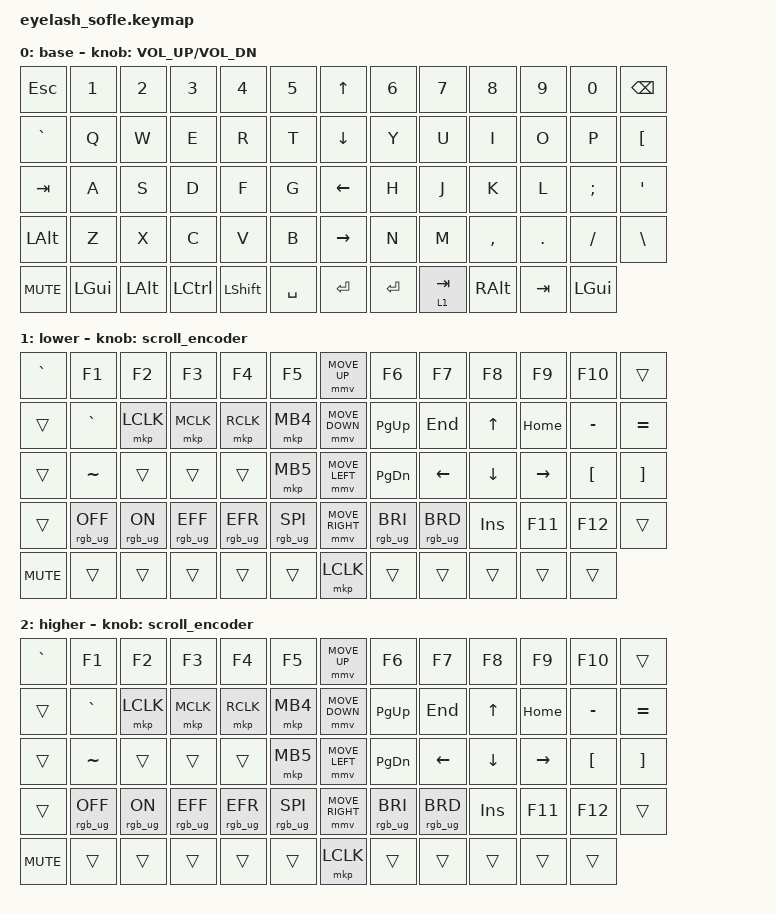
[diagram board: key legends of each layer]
#define ZMK_POINTING_DEFAULT_MOVE_VAL 1200  // 600
#define ZMK_POINTING_DEFAULT_SCRL_VAL 25   // 10

#include <input/processors.dtsi>
#include <zephyr/dt-bindings/input/input-event-codes.h>
#include <behaviors.dtsi>
#include <dt-bindings/zmk/bt.h>
#include <dt-bindings/zmk/ext_power.h>
#include <dt-bindings/zmk/keys.h>
#include <dt-bindings/zmk/pointing.h>
#include <dt-bindings/zmk/rgb.h>
#include <dt-bindings/zmk/outputs.h>

&mmv_input_listener { input-processors = <&zip_xy_scaler 2 1>; };

&msc_input_listener { input-processors = <&zip_scroll_scaler 2 1>; };

&msc {
    acceleration-exponent = <1>;      // 0
    time-to-max-speed-ms = <100>;       // 300
    delay-ms = <0>;                   // 0
};

&mmv {
    time-to-max-speed-ms = <500>;
    acceleration-exponent = <1>;
    trigger-period-ms = <16>;
};

&lt {
    flavor = "hold-preferred";
};

/ {
  scroll_encoder: scroll_encoder
    {
        compatible = "zmk,behavior-sensor-rotate";
        #sensor-binding-cells = <0>;
        bindings = <&msc SCRL_DOWN>, <&msc SCRL_UP>;
        tap-ms = <100>;
    };

  keymap {
      compatible = "zmk,keymap";

        layer0 {
            bindings = <
&kp ESC        &kp N1          &kp N2                &kp N3              &kp N4           &kp N5        &kp UP_ARROW     &kp N6     &kp N7            &kp N8          &kp N9        &kp N0      &kp BACKSPACE
&kp GRAVE      &kp Q           &kp W                 &kp E               &kp R            &kp T         &kp DOWN_ARROW   &kp Y      &kp U             &kp I           &kp O         &kp P       &kp LBKT
&kp TAB        &kp A           &kp S                 &kp D               &kp F            &kp G         &kp LEFT_ARROW   &kp H      &kp J             &kp K           &kp L         &kp SEMI    &kp APOS
&kp LEFT_ALT   &kp Z           &kp X                 &kp C               &kp V            &kp B         &kp RIGHT_ARROW  &kp N      &kp M             &kp COMMA       &kp DOT       &kp FSLH    &kp BSLH
&kp C_MUTE     &kp LEFT_GUI    &kp LEFT_ALT          &kp LCTRL           &kp LEFT_SHIFT   &kp SPACE     &kp ENTER        &kp ENTER  &lt 1 TAB         &kp RIGHT_ALT   &kp TAB       &kp LEFT_GUI
                      >;

   sensor-bindings = <&inc_dec_kp C_VOLUME_UP C_VOL_DN>;
   display-name = "base";
   };

        layer_1 {
            bindings = <
&kp GRAVE      &kp F1           &kp F2                &kp F3              &kp F4           &kp F5             &mmv MOVE_UP     &kp F6           &kp F7           &kp F8      &kp F9        &kp F10           &trans
&trans         &kp GRAVE        &mkp LCLK             &mkp MCLK           &mkp RCLK        &mkp MB4           &mmv MOVE_DOWN   &kp PG_UP        &kp END          &kp UP      &kp HOME      &kp MINUS         &kp EQUAL
&trans         &kp TILDE        &trans                &trans              &trans           &mkp MB5           &mmv MOVE_LEFT   &kp PG_DN        &kp LEFT         &kp DOWN    &kp RIGHT     &kp LEFT_BRACKET  &kp RIGHT_BRACKET
&trans         &rgb_ug RGB_OFF  &rgb_ug RGB_ON        &rgb_ug RGB_EFF     &rgb_ug RGB_EFR  &rgb_ug RGB_SPI    &mmv MOVE_RIGHT  &rgb_ug RGB_BRI  &rgb_ug RGB_BRD  &kp INSERT  &kp F11       &kp F12           &trans
&kp C_MUTE     &trans           &trans                &trans              &trans           &trans             &mkp LCLK        &trans           &trans           &trans      &trans        &trans

   /* &trans         &kp F1           &kp F2                &kp F3              &kp F4           &kp F5             &mmv MOVE_UP     &kp F6    &kp F7    &kp F8  &kp F9  &kp F10     &kp DEL */
   /* &kp F11        &kp HOME         &kp UP_ARROW          &kp END             &kp MINUS        &kp LBRC           &mmv MOVE_DOWN   &kp RBRC  &kp PLUS  &trans  &trans  &kp PSCRN   &kp RBRC */
   /* &kp F12        &kp LEFT_ARROW   &kp DOWN_ARROW        &kp RIGHT_ARROW     &kp UNDER        &kp LPAR           &mmv MOVE_LEFT   &kp RPAR  &kp EQUAL &kp DQT &trans  &kp COLON   &trans */
   /* &trans         &kp PG_UP        &kp K_CALC            &kp PG_DN           &kp INSERT       &kp LBRK           &mmv MOVE_RIGHT  &kp RBRK  &trans    &trans  &trans  &trans      &trans */
   /* &kp C_MUTE     &trans           &trans                &trans              &trans           &trans             &mkp LCLK        &trans    &trans    &trans  &trans  &trans */
            >;

            display-name = "lower";
            sensor-bindings = <&scroll_encoder>;
        };

        layer_2 {
            bindings = <
&kp GRAVE      &kp F1           &kp F2                &kp F3              &kp F4           &kp F5             &mmv MOVE_UP     &kp F6           &kp F7           &kp F8      &kp F9        &kp F10           &trans
&trans         &kp GRAVE        &mkp LCLK             &mkp MCLK           &mkp RCLK        &mkp MB4           &mmv MOVE_DOWN   &kp PG_UP        &kp END          &kp UP      &kp HOME      &kp MINUS         &kp EQUAL
&trans         &kp TILDE        &trans                &trans              &trans           &mkp MB5           &mmv MOVE_LEFT   &kp PG_DN        &kp LEFT         &kp DOWN    &kp RIGHT     &kp LEFT_BRACKET  &kp RIGHT_BRACKET
&trans         &rgb_ug RGB_OFF  &rgb_ug RGB_ON        &rgb_ug RGB_EFF     &rgb_ug RGB_EFR  &rgb_ug RGB_SPI    &mmv MOVE_RIGHT  &rgb_ug RGB_BRI  &rgb_ug RGB_BRD  &kp INSERT  &kp F11       &kp F12           &trans
&kp C_MUTE     &trans           &trans                &trans              &trans           &trans             &mkp LCLK        &trans           &trans           &trans      &trans        &trans

/* &trans         &trans          &trans                &trans              &trans           &trans        &trans        &trans     &trans      &trans    &trans        &trans     &trans */
/* &trans         &trans          &trans                &trans              &trans           &trans        &trans        &trans     &trans      &trans    &trans        &trans     &trans */
/* &trans         &trans          &trans                &trans              &trans           &trans        &trans        &trans     &trans      &trans    &trans        &trans     &trans */
/* &trans         &trans          &trans                &trans              &trans           &trans        &trans        &trans     &trans      &trans    &trans        &trans     &trans */
/* &trans         &trans          &trans                &trans              &trans           &trans        &trans        &trans     &trans      &trans    &trans        &trans */
                      >;

    display-name = "higher";
    sensor-bindings = <&scroll_encoder>;
    };

  };
};
